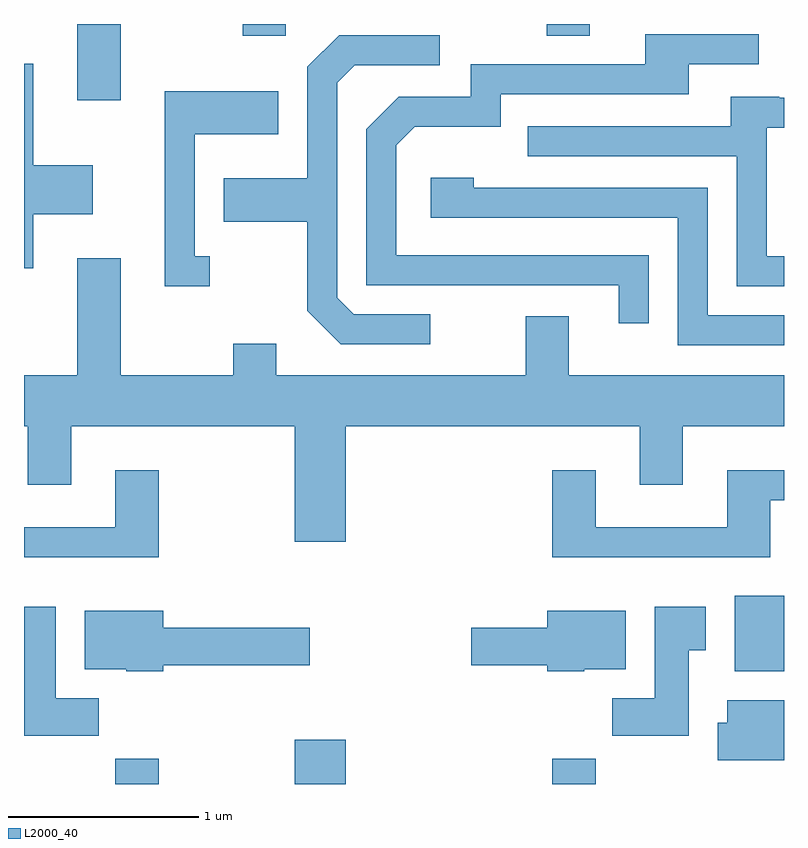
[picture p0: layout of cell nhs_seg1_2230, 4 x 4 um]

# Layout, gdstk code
import gdstk
lib = gdstk.Library(unit=1e-6, precision=1e-09)
def R(c, l, rs):  # rectangles x0, y0, x1, y1
    for r in rs: c.add(gdstk.rectangle(r[:2], r[2:], *l))
def P(c, l, *ps):  # polygons
    for p in ps: c.add(gdstk.Polygon(p, *l))
L2000_40 = (2000, 40)

nhs_seg1_2230 = lib.new_cell('nhs_seg1_2230')
R(nhs_seg1_2230, L2000_40, [(254.091,877.712,254.319,877.844), (255.036,877.712,255.304,877.944), (256.391,877.712,256.619,877.844), (257.351,878.306,257.611,878.704), (253.891,881.311,254.119,881.712), (254.761,881.651,254.989,881.712), (256.361,881.651,256.589,881.712)])
P(nhs_seg1_2230, L2000_40, [(256.899,880.494),(255.569,880.494),(255.569,881.074),(255.667,881.171),(256.119,881.171),(256.119,881.341),(257.109,881.341),(257.109,881.501),(257.478,881.501),(257.478,881.659),(256.881,881.659),(256.881,881.499),(255.961,881.499),(255.961,881.329),(255.584,881.329),(255.411,881.157),(255.411,880.336),(256.741,880.336),(256.741,880.138),(256.899,880.138)],
  [(255.748,880.184),(255.347,880.184),(255.259,880.272),(255.259,881.404),(255.352,881.496),(255.798,881.496),(255.798,881.654),(255.269,881.654),(255.101,881.487),(255.101,880.899),(254.661,880.899),(254.661,880.671),(255.101,880.671),(255.101,880.204),(255.279,880.026),(255.748,880.026)],
  [(253.659,880.711),(253.974,880.711),(253.974,880.969),(253.659,880.969),(253.659,881.504),(253.611,881.504),(253.611,880.426),(253.659,880.426)],
  [(254.588,880.489),(254.509,880.489),(254.509,881.131),(254.949,881.131),(254.949,881.359),(254.351,881.359),(254.351,880.331),(254.588,880.331)],
  [(257.611,880.489),(257.519,880.489),(257.519,881.166),(257.611,881.166),(257.611,881.324),(257.585,881.324),(257.585,881.329),(257.331,881.329),(257.331,881.174),(256.263,881.174),(256.263,881.016),(257.361,881.016),(257.361,880.331),(257.611,880.331)],
  [(257.611,880.179),(257.209,880.179),(257.209,880.849),(255.979,880.849),(255.979,880.904),(255.751,880.904),(255.751,880.691),(257.051,880.691),(257.051,880.021),(257.611,880.021)],
  [(255.304,879.596),(256.851,879.596),(256.851,879.286),(257.079,879.286),(257.079,879.596),(257.611,879.596),(257.611,879.864),(256.479,879.864),(256.479,880.174),(256.251,880.174),(256.251,879.864),(254.939,879.864),(254.939,880.029),(254.711,880.029),(254.711,879.864),(254.119,879.864),(254.119,880.479),(253.891,880.479),(253.891,879.864),(253.611,879.864),(253.611,879.596),(253.631,879.596),(253.631,879.286),(253.859,879.286),(253.859,879.596),(255.036,879.596),(255.036,878.986),(255.304,878.986)],
  [(257.539,879.206),(257.611,879.206),(257.611,879.364),(257.311,879.364),(257.311,879.064),(256.619,879.064),(256.619,879.364),(256.391,879.364),(256.391,878.906),(257.539,878.906)],
  [(254.319,879.364),(254.091,879.364),(254.091,879.064),(253.611,879.064),(253.611,878.906),(254.319,878.906)],
  [(254.004,878.164),(253.779,878.164),(253.779,878.644),(253.611,878.644),(253.611,877.966),(254.004,877.966)],
  [(257.109,878.416),(257.199,878.416),(257.199,878.644),(256.931,878.644),(256.931,878.164),(256.706,878.164),(256.706,877.966),(257.109,877.966)],
  [(256.56,878.316),(256.779,878.316),(256.779,878.624),(256.366,878.624),(256.366,878.534),(255.966,878.534),(255.966,878.336),(256.366,878.336),(256.366,878.306),(256.56,878.306)],
  [(254.344,878.336),(255.114,878.336),(255.114,878.534),(254.344,878.534),(254.344,878.624),(253.931,878.624),(253.931,878.316),(254.15,878.316),(254.15,878.306),(254.344,878.306)],
  [(257.611,878.154),(257.311,878.154),(257.311,878.034),(257.261,878.034),(257.261,877.836),(257.611,877.836)])

lib.write_gds('nhs_seg1_2230.gds')
